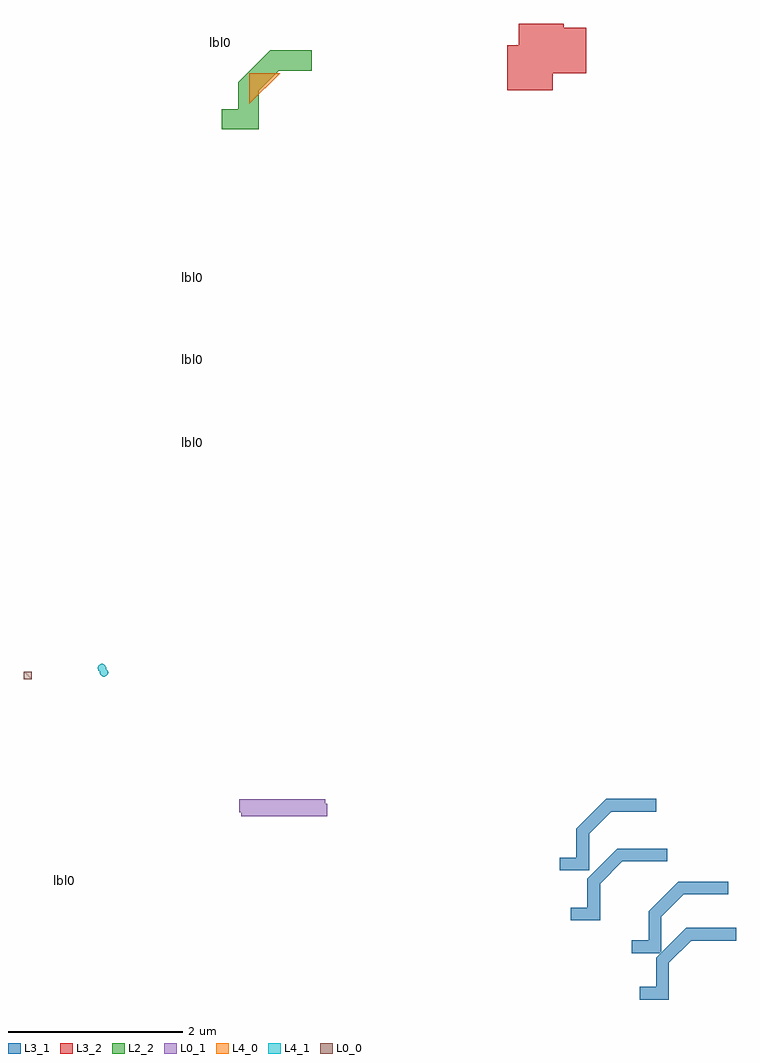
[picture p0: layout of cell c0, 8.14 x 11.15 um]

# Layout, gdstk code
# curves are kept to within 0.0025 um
import gdstk
lib = gdstk.Library(unit=1e-6, precision=2.5e-09)
def R(c, l, rs):  # rectangles x0, y0, x1, y1
    for r in rs: c.add(gdstk.rectangle(r[:2], r[2:], *l))
def P(c, l, *ps):  # polygons
    for p in ps: c.add(gdstk.Polygon(p, *l))
L0_0 = (0, 0)
L0_1 = (0, 1)
L2_2 = (2, 2)
L3_1 = (3, 1)
L3_2 = (3, 2)
L4_0 = (4, 0)
L4_1 = (4, 1)

c_c0 = lib.new_cell('c0')
R(c_c0, L0_0, [(-3.24,-2.4475,-3.1525,-2.36)])
R(c_c0, L0_1, [(-0.7575,-4.015,0.2275,-3.87), (-0.78,-3.965,0.205,-3.82)])
R(c_c0, L3_2, [(2.285,4.2825,2.8025,4.8), (2.6725,4.48,3.19,4.9975), (2.415,4.53,2.9325,5.0475)])
P(c_c0, L4_0, [(-0.6625,4.13),(-0.6625,4.48),(-0.3125,4.48)])
P(c_c0, L4_1, [(-2.3,-2.32),(-2.3,-2.31),(-2.3075,-2.2925),(-2.32,-2.28),(-2.3375,-2.2725),(-2.3575,-2.2725),(-2.375,-2.28),(-2.3875,-2.2925),(-2.395,-2.31),(-2.395,-2.33),(-2.3875,-2.3475),(-2.375,-2.36),(-2.3575,-2.3675),(-2.3375,-2.3675),(-2.32,-2.36),(-2.3075,-2.3475),(-2.3,-2.33)],
  [(-2.2775,-2.37),(-2.2775,-2.36),(-2.285,-2.3425),(-2.2975,-2.33),(-2.315,-2.3225),(-2.335,-2.3225),(-2.3525,-2.33),(-2.365,-2.3425),(-2.3725,-2.36),(-2.3725,-2.38),(-2.365,-2.3975),(-2.3525,-2.41),(-2.335,-2.4175),(-2.315,-2.4175),(-2.2975,-2.41),(-2.285,-2.3975),(-2.2775,-2.38)])
c_c0.add(gdstk.FlexPath([(4.03,-4.23),(4.4725,-4.23),(4.4725,-4.0325),(4.9325,-4.0325),(4.9325,-3.675),(5.1275,-3.675)], 0, ends=(0, -0.0175), simple_path=True, layer=2, datatype=2))  # L2_2
c_c0.add(gdstk.FlexPath([(5.0025,-4.23),(5.445,-4.23),(5.445,-4.0325),(5.905,-4.0325),(5.905,-3.675),(6.1,-3.675)], 0, ends=(0, -0.0175), simple_path=True, layer=2, datatype=2))  # L2_2
c_c0.add(gdstk.FlexPath([(5.975,-4.23),(6.4175,-4.23),(6.4175,-4.0325),(6.8775,-4.0325),(6.8775,-3.675),(7.0725,-3.675)], 0, ends=(0, -0.0175), simple_path=True, layer=2, datatype=2))  # L2_2
c_c0.add(gdstk.FlexPath([(4.03,-4.1875),(4.4725,-4.1875),(4.4725,-3.99),(4.9325,-3.99),(4.9325,-3.6325),(5.1275,-3.6325)], 0, ends=(0, -0.0175), simple_path=True, layer=2, datatype=2))  # L2_2
c_c0.add(gdstk.FlexPath([(5.0025,-4.1875),(5.445,-4.1875),(5.445,-3.99),(5.905,-3.99),(5.905,-3.6325),(6.1,-3.6325)], 0, ends=(0, -0.0175), simple_path=True, layer=2, datatype=2))  # L2_2
c_c0.add(gdstk.FlexPath([(5.975,-4.1875),(6.4175,-4.1875),(6.4175,-3.99),(6.8775,-3.99),(6.8775,-3.6325),(7.0725,-3.6325)], 0, ends=(0, -0.0175), simple_path=True, layer=2, datatype=2))  # L2_2
c_c0.add(gdstk.FlexPath([(4.03,-4.145),(4.4725,-4.145),(4.4725,-3.9475),(4.9325,-3.9475),(4.9325,-3.59),(5.1275,-3.59)], 0, ends=(0, -0.0175), simple_path=True, layer=2, datatype=2))  # L2_2
c_c0.add(gdstk.FlexPath([(5.0025,-4.145),(5.445,-4.145),(5.445,-3.9475),(5.905,-3.9475),(5.905,-3.59),(6.1,-3.59)], 0, ends=(0, -0.0175), simple_path=True, layer=2, datatype=2))  # L2_2
c_c0.add(gdstk.FlexPath([(5.975,-4.145),(6.4175,-4.145),(6.4175,-3.9475),(6.8775,-3.9475),(6.8775,-3.59),(7.0725,-3.59)], 0, ends=(0, -0.0175), simple_path=True, layer=2, datatype=2))  # L2_2
c_c0.add(gdstk.FlexPath([(4.03,-4.1025),(4.4725,-4.1025),(4.4725,-3.905),(4.9325,-3.905),(4.9325,-3.5475),(5.1275,-3.5475)], 0, ends=(0, -0.0175), simple_path=True, layer=2, datatype=2))  # L2_2
c_c0.add(gdstk.FlexPath([(5.0025,-4.1025),(5.445,-4.1025),(5.445,-3.905),(5.905,-3.905),(5.905,-3.5475),(6.1,-3.5475)], 0, ends=(0, -0.0175), simple_path=True, layer=2, datatype=2))  # L2_2
c_c0.add(gdstk.FlexPath([(5.975,-4.1025),(6.4175,-4.1025),(6.4175,-3.905),(6.8775,-3.905),(6.8775,-3.5475),(7.0725,-3.5475)], 0, ends=(0, -0.0175), simple_path=True, layer=2, datatype=2))  # L2_2
c_c0.add(gdstk.FlexPath([(2.9575,-4.56),(3.1475,-4.56),(3.1475,-4.185),(3.445,-3.8875),(3.915,-3.8875)], 0.145, ends="extended", simple_path=True, layer=3, datatype=1))  # L3_1
c_c0.add(gdstk.FlexPath([(3.0825,-5.13),(3.2725,-5.13),(3.2725,-4.755),(3.57,-4.4575),(4.04,-4.4575)], 0.145, ends="extended", simple_path=True, layer=3, datatype=1))  # L3_1
c_c0.add(gdstk.FlexPath([(3.7825,-5.505),(3.9725,-5.505),(3.9725,-5.13),(4.27,-4.8325),(4.74,-4.8325)], 0.145, ends="extended", simple_path=True, layer=3, datatype=1))  # L3_1
c_c0.add(gdstk.FlexPath([(3.87,-6.035),(4.06,-6.035),(4.06,-5.66),(4.3575,-5.3625),(4.8275,-5.3625)], 0.145, ends="extended", simple_path=True, layer=3, datatype=1))  # L3_1
c_c0.add(gdstk.FlexPath([(-0.8625,3.9525),(-0.6725,3.9525),(-0.6725,4.3275),(-0.375,4.625),(0.095,4.625)], 0.23, ends=(0.115, -0.0425), simple_path=True, layer=2, datatype=2))  # L2_2
c_c0.add(gdstk.Label('lbl0', (-1.3175,0.26), layer=4, texttype=2))
c_c0.add(gdstk.Label('lbl0', (-1.3175,1.2025), layer=4, texttype=2))
c_c0.add(gdstk.Label('lbl0', (-1.3175,2.145), layer=4, texttype=2))
c_c0.add(gdstk.Label('lbl0', (-2.775,-4.75), layer=1, texttype=0))
c_c0.add(gdstk.Label('lbl0', (-0.9975,4.825), layer=2, texttype=2))

lib.write_gds('c0.gds')
